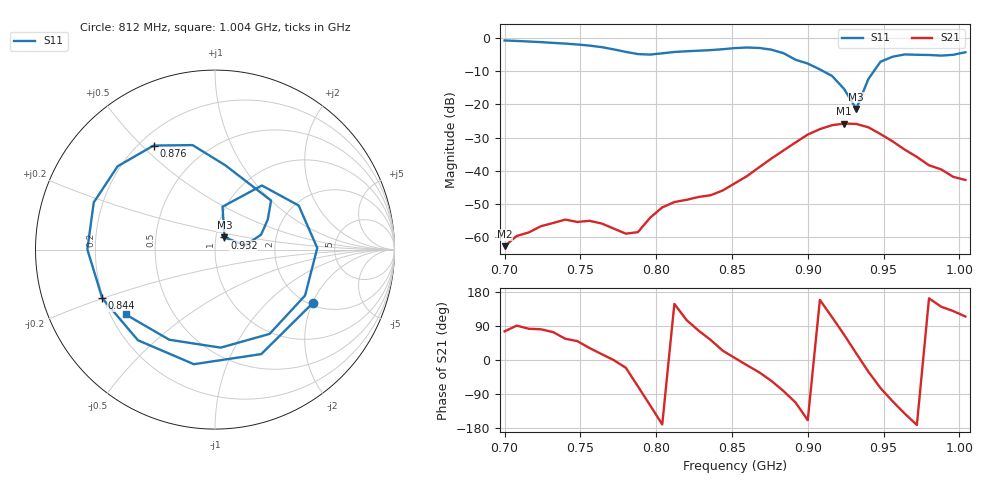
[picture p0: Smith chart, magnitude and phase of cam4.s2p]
# Hz S RI R 50
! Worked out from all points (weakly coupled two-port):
!   39 points, 700 MHz to 1.004 GHz, reference 50 ohm
!   highest |S21| = -25.78 dB at 924 MHz (marker M1); lowest = -62.8 dB at 700 MHz (marker M2)
!   lowest |S11| = -21.3 dB at 932 MHz (marker M3), VSWR 1.19, Z = 55 + j7.49 ohm
!   |S11| at or under -10 dB: 910.4 MHz to 943.5 MHz (33.12 MHz wide, 3.57 % of centre)
!   S12 and S22 are empty: the file has one direction only
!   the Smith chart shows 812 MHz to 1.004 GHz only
!   S11 on the Smith chart (normalised r, x): 812 MHz: 2.07, -2.01; 844 MHz: 0.20, -0.20; 876 MHz: 0.26, +0.54; 932 MHz: 1.10, +0.15; 1.004 GHz: 0.26, -0.30
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7e8  0.7623 0.5279  0.000179 0.000699  0 0  0 0
7.24e8  0.8342 -0.2618  0.000226 0.00143  0 0  0 0
7.4e8  0.4432 -0.703  0.00101 0.00151  0 0  0 0
7.56e8  -0.1972 -0.7496  0.00148 0.000914  0 0  0 0
7.72e8  -0.6533 -0.1884  0.00133 -5.09e-06  0 0  0 0
7.8e8  -0.5784 0.2299  0.00104 -0.000391  0 0  0 0
7.88e8  -0.2273 0.5305  0.000406 -0.00111  0 0  0 0
7.96e8  0.2568 0.5057  -0.000958 -0.00169  0 0  0 0
8.04e8  0.5734 0.1491  -0.00274 -0.000475  0 0  0 0
8.12e8  0.5446 -0.2984  -0.00285 0.00177  0 0  0 0
8.28e8  -0.1178 -0.6384  0.000868 0.0039  0 0  0 0
8.44e8  -0.628 -0.2711  0.00458 0.00207  0 0  0 0
8.52e8  -0.7111 0.000637  0.00643 0.00057  0 0  0 0
8.76e8  -0.3421 0.5797  0.00873 -0.0125  0 0  0 0
9e8  0.3122 0.2735  -0.0327 -0.0127  0 0  0 0
9.08e8  0.2942 0.1675  -0.0395 0.0155  0 0  0 0
9.24e8  0.1695 0.0242  0.0204 0.0472  0 0  0 0
9.32e8  0.0527 0.0676  0.0485 0.0152  0 0  0 0
9.4e8  0.0419 0.2389  0.0387 -0.0232  0 0  0 0
9.56e8  0.4662 0.2456  -0.00903 -0.0261  0 0  0 0
9.8e8  0.304 -0.4696  -0.0115 0.00356  0 0  0 0
1.004e9  -0.4985 -0.3609  -0.00304 0.00655  0 0  0 0
